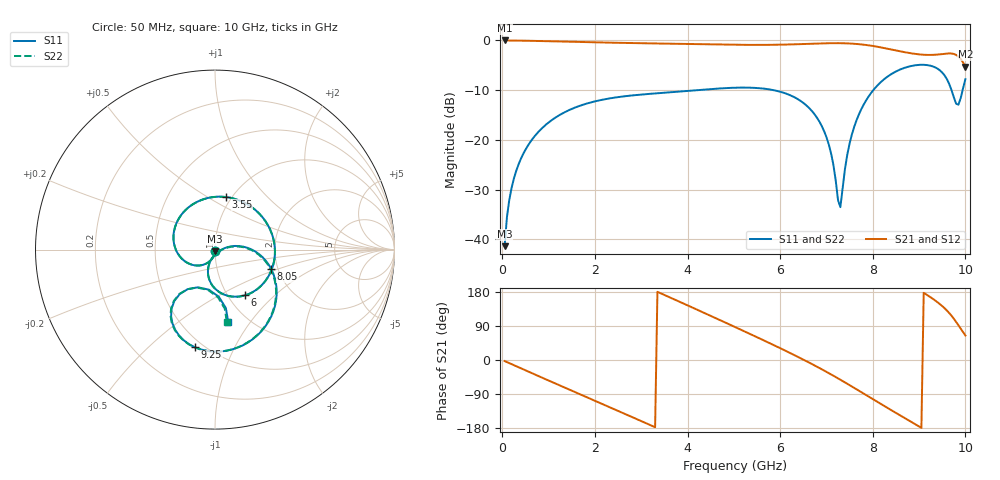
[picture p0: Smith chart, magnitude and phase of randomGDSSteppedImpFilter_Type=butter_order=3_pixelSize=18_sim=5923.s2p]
! freq	dB(S11)	phase(S11)	dB(S12)	phase(S12)
!  dB(S21)	phase(S21)	dB(S22)	phase(S22)
!S-par simulation data
#  GHz  S  DB  R 50
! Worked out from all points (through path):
!   200 points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, 50 MHz to 10 GHz, reference 50 ohm
!   highest |S21| = -0.01 dB at 50 MHz (marker M1); lowest = -5.3 dB at 10 GHz (marker M2)
!   group delay of S21, straight-line fit = 168 ps
!   lowest |S11| = -41.4 dB at 50 MHz (marker M3), VSWR 1.02, Z = 50 - j0.852 ohm
!   |S11| at or under -10 dB: start of sweep to 4.216 GHz; 5.855 GHz to 8.012 GHz (2.157 GHz wide, 31.1 % of centre); 9.7 GHz to 9.94 GHz (239.6 MHz wide, 2.44 % of centre)
!   |S22| runs from -41.4 to -4.9 dB; largest |S21 - S12| = 0
!   S11 on the Smith chart (normalised r, x): 50 MHz: 1.00, -0.02; 3.55 GHz: 0.94, +0.60; 6 GHz: 1.20, -0.67; 8.05 GHz: 1.84, -0.45; 9.25 GHz: 0.45, -0.71; 10 GHz: 0.82, -0.79
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0.05  -41.38 -87.0  -0.01 -2.8  -0.01 -2.8  -41.38 -87.0
0.2  -29.68 -100.1  -0.03 -10.9  -0.03 -10.9  -29.69 -100.1
0.5  -21.99 -117.6  -0.07 -27.2  -0.07 -27.2  -21.99 -117.7
1.15  -15.51 -153.0  -0.20 -62.3  -0.20 -62.3  -15.51 -153.2
1.75  -12.91 174.9  -0.34 -94.3  -0.34 -94.3  -12.92 174.6
2.65  -11.22 127.0  -0.51 -142.3  -0.51 -142.3  -11.23 126.5
3.4  -10.59 86.7  -0.63 177.2  -0.63 177.2  -10.60 86.1
3.55  -10.49 78.6  -0.65 169.0  -0.65 169.0  -10.49 77.9
4.35  -9.90 34.9  -0.78 124.9  -0.78 124.9  -9.90 34.2
5.05  -9.51 -3.6  -0.88 85.7  -0.88 85.7  -9.51 -4.2
6  -10.32 -56.5  -0.86 31.3  -0.86 31.3  -10.32 -57.0
6.7  -14.36 -96.2  -0.66 -11.5  -0.66 -11.5  -14.35 -96.3
7.05  -20.93 -112.0  -0.57 -34.6  -0.57 -34.6  -20.89 -111.5
7.3  -33.54 -36.1  -0.56 -52.0  -0.56 -52.0  -32.88 -37.9
7.55  -18.89 10.3  -0.65 -70.0  -0.65 -70.0  -18.87 8.9
8.05  -9.58 -19.1  -1.20 -106.9  -1.20 -106.9  -9.58 -20.0
8.35  -7.08 -39.7  -1.73 -128.8  -1.73 -128.8  -7.08 -40.4
9.25  -5.10 -101.6  -2.92 165.4  -2.92 165.4  -5.11 -102.1
9.55  -7.04 -123.4  -2.69 136.6  -2.69 136.6  -7.03 -123.8
9.75  -11.44 -124.7  -2.73 109.0  -2.73 109.0  -11.38 -125.0
9.85  -12.93 -98.7  -3.25 91.7  -3.25 91.7  -12.82 -99.5
10  -7.79 -79.6  -5.31 64.6  -5.31 64.6  -7.76 -80.7
